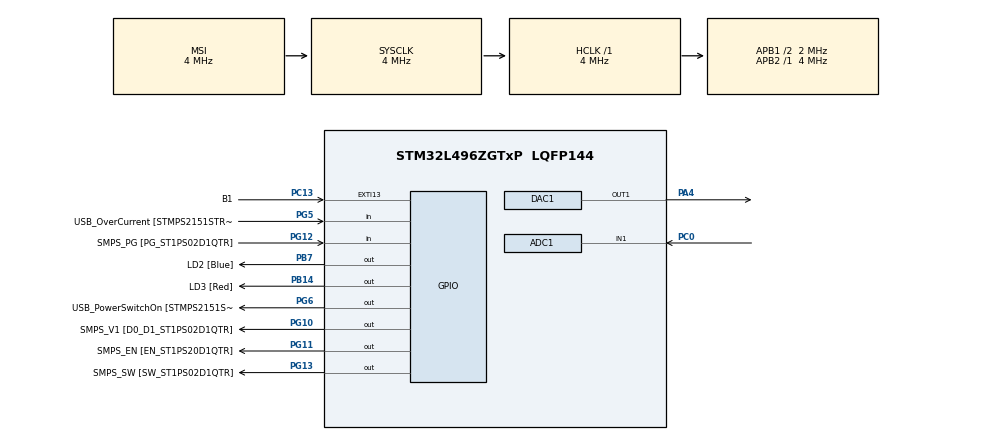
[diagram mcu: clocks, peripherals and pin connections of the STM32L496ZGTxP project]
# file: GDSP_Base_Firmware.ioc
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ADC1.Channel-0\#ChannelRegularConversion=ADC_CHANNEL_1
ADC1.ContinuousConvMode=DISABLE
ADC1.DMAContinuousRequests=ENABLE
ADC1.ExternalTrigConv=ADC_EXTERNALTRIG_T3_TRGO
ADC1.NbrOfConversionFlag=1
ADC1.OffsetNumber-0\#ChannelRegularConversion=ADC_OFFSET_NONE
ADC1.Rank-0\#ChannelRegularConversion=1
ADC1.SamplingTime-0\#ChannelRegularConversion=ADC_SAMPLETIME_2CYCLES_5
ADC1.master=1
DAC1.DAC_Trigger-DAC_OUT1=DAC_TRIGGER_T6_TRGO
Dma.ADC1.0.Direction=DMA_PERIPH_TO_MEMORY
Dma.ADC1.0.Instance=DMA1_Channel1
Dma.ADC1.0.MemDataAlignment=DMA_MDATAALIGN_HALFWORD
Dma.ADC1.0.MemInc=DMA_MINC_ENABLE
Dma.ADC1.0.Mode=DMA_NORMAL
Dma.ADC1.0.PeriphDataAlignment=DMA_PDATAALIGN_HALFWORD
Dma.ADC1.0.PeriphInc=DMA_PINC_DISABLE
Dma.ADC1.0.Priority=DMA_PRIORITY_VERY_HIGH
Dma.DAC_CH1.1.Direction=DMA_MEMORY_TO_PERIPH
Dma.DAC_CH1.1.Instance=DMA1_Channel3
Dma.DAC_CH1.1.MemDataAlignment=DMA_MDATAALIGN_HALFWORD
Dma.DAC_CH1.1.MemInc=DMA_MINC_ENABLE
Dma.DAC_CH1.1.Mode=DMA_NORMAL
Dma.DAC_CH1.1.PeriphDataAlignment=DMA_PDATAALIGN_HALFWORD
Dma.DAC_CH1.1.PeriphInc=DMA_PINC_DISABLE
Dma.DAC_CH1.1.Priority=DMA_PRIORITY_LOW
Dma.Request0=ADC1
Dma.Request1=DAC_CH1
Mcu.Family=STM32L4
Mcu.Name=STM32L496ZGTxP
Mcu.Package=LQFP144
NVIC.DMA1_Channel1_IRQn=true\:0\:0\:false\:false\:true\:false\:true\:true
NVIC.DMA1_Channel3_IRQn=true\:0\:0\:false\:false\:true\:false\:true\:true
NVIC.PriorityGroup=NVIC_PRIORITYGROUP_4
NVIC.TIM6_DAC_IRQn=true\:0\:0\:false\:false\:true\:true\:true\:true
PA10.GPIO_Label=USB_ID
PA10.Signal=USB_OTG_FS_ID
PA11.GPIO_Label=USB_DM
PA11.Signal=USB_OTG_FS_DM
PA12.GPIO_Label=USB_DP
PA12.Signal=USB_OTG_FS_DP
PA13\ (JTMS/SWDIO).GPIO_Label=TMS
PA13\ (JTMS/SWDIO).Mode=Trace_Asynchronous_SW
PA13\ (JTMS/SWDIO).Signal=SYS_JTMS-SWDIO
PA14\ (JTCK/SWCLK).GPIO_Label=TCK
PA14\ (JTCK/SWCLK).Mode=Trace_Asynchronous_SW
PA14\ (JTCK/SWCLK).Signal=SYS_JTCK-SWCLK
PA4.Signal=COMP_DAC11_group
PA8.GPIO_Label=USB_SOF [TP1]
PA8.Signal=USB_OTG_FS_SOF
PA9.GPIO_Label=USB_VBUS
PA9.Signal=USB_OTG_FS_VBUS
PB14.GPIO_Label=LD3 [Red]
PB14.Signal=GPIO_Output
PB3\ (JTDO/TRACESWO).GPIO_Label=SWO
PB3\ (JTDO/TRACESWO).Mode=Trace_Asynchronous_SW
PB3\ (JTDO/TRACESWO).Signal=SYS_JTDO-SWO
PB7.GPIO_Label=LD2 [Blue]
PB7.Signal=GPIO_Output
PC0.Signal=ADCx_IN1
PC13.GPIO_Label=B1
PC13.Signal=GPXTI13
PC14-OSC32_IN\ (PC14).Signal=RCC_OSC32_IN
PC15-OSC32_OUT\ (PC15).Signal=RCC_OSC32_OUT
PG10.GPIO_Label=SMPS_V1 [D0_D1_ST1PS02D1QTR]
PG10.Signal=GPIO_Output
PG11.GPIO_Label=SMPS_EN [EN_ST1PS20D1QTR]
PG11.Signal=GPIO_Output
PG12.GPIO_Label=SMPS_PG [PG_ST1PS02D1QTR]
PG12.Signal=GPIO_Input
PG13.GPIO_Label=SMPS_SW [SW_ST1PS02D1QTR]
PG13.Signal=GPIO_Output
PG5.GPIO_Label=USB_OverCurrent [STMPS2151STR_FAULT]
PG5.Signal=GPIO_Input
PG6.GPIO_Label=USB_PowerSwitchOn [STMPS2151STR_EN]
PG6.Signal=GPIO_Output
PG7.GPIO_Label=STLK_RX [STM32F103CBT6_PA3]
PG7.Signal=LPUART1_TX
PG8.GPIO_Label=STLK_TX [STM32F103CBT6_PA2]
PG8.Signal=LPUART1_RX
PH0-OSC_IN\ (PH0).GPIO_Label=MCO
PH0-OSC_IN\ (PH0).Signal=RCC_OSC_IN
PH1-OSC_OUT\ (PH1).Signal=RCC_OSC_OUT
ProjectManager.HeapSize=0x200
ProjectManager.StackSize=0x400
ProjectManager.TargetToolchain=STM32CubeIDE
RCC.48MHZClocksFreq_Value=24000000
RCC.ADCFreq_Value=32000000
RCC.AHBFreq_Value=4000000
RCC.APB1CLKDivider=RCC_HCLK_DIV2
RCC.APB1Freq_Value=2000000
RCC.APB1TimFreq_Value=4000000
RCC.APB2Freq_Value=4000000
RCC.APB2TimFreq_Value=4000000
RCC.CortexFreq_Value=4000000
RCC.HCLKFreq_Value=4000000
RCC.HSE_VALUE=8000000
RCC.HSI48_VALUE=48000000
RCC.HSI_VALUE=16000000
RCC.LSE_VALUE=32768
RCC.MSI_VALUE=4000000
RCC.PLLMUL=RCC_PLL_MUL9
RCC.PLLSAI1N=16
RCC.PRESCALERUSB=RCC_USBCLKSOURCE_PLL_DIV1_5
RCC.SYSCLKFreq_VALUE=4000000
RCC.SYSCLKSourceVirtual=RCC_SYSCLKSOURCE_PLLCLK
RCC.USBFreq_Value=32000000
RCC.VCOOutputFreq_Value=32000000
SH.ADCx_IN1.0=ADC1_IN1,IN1-Single-Ended
SH.COMP_DAC11_group.0=DAC1_OUT1,DAC_OUT1
TIM3.Channel-PWM\ Generation1\ No\ Output=TIM_CHANNEL_1
TIM3.Period=10-1
TIM3.Prescaler=40-1
TIM3.TIM_MasterOutputTrigger=TIM_TRGO_UPDATE
TIM6.Period=10-1
TIM6.Prescaler=40-1
TIM6.TIM_MasterOutputTrigger=TIM_TRGO_UPDATE
VP_TIM3_VS_ClockSourceINT.Mode=Internal
VP_TIM3_VS_no_output1.Mode=PWM Generation1 No Output
VP_TIM6_VS_ClockSourceINT.Mode=Enable_Timer
board=NUCLEO-L496ZG-P

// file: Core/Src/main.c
/* USER CODE BEGIN Header */
/**
  ******************************************************************************
  * @file           : main.c
  * @brief          : Main program body
  ******************************************************************************
  * @attention
  *
  * Copyright (c) 2022 STMicroelectronics.
  * All rights reserved.
  *
  * This software is licensed under terms that can be found in the LICENSE file
  * in the root directory of this software component.
  * If no LICENSE file comes with this software, it is provided AS-IS.
  *
  ******************************************************************************
  */
/* USER CODE END Header */
#include "main.h"

/* USER CODE BEGIN PD */
#define BUFFER_SIZE 100000

#define LED1_PIN                                GPIO_PIN_7
#define LED1_GPIO_PORT                          GPIOC
#define LED1_GPIO_CLK_ENABLE()                  __HAL_RCC_GPIOC_CLK_ENABLE()
#define LED1_GPIO_CLK_DISABLE()                 __HAL_RCC_GPIOC_CLK_DISABLE()

#define LED2_PIN                                GPIO_PIN_7
#define LED2_GPIO_PORT                          GPIOB
#define LED2_GPIO_CLK_ENABLE()                  __HAL_RCC_GPIOB_CLK_ENABLE()
#define LED2_GPIO_CLK_DISABLE()                 __HAL_RCC_GPIOB_CLK_DISABLE()

#define LED3_PIN                                GPIO_PIN_14
#define LED3_GPIO_PORT                          GPIOB
#define LED3_GPIO_CLK_ENABLE()                  __HAL_RCC_GPIOB_CLK_ENABLE()
#define LED3_GPIO_CLK_DISABLE()                 __HAL_RCC_GPIOB_CLK_DISABLE()
/* USER CODE END PD */

 ADC_HandleTypeDef hadc1;
DMA_HandleTypeDef hdma_adc1;

DAC_HandleTypeDef hdac1;
DMA_HandleTypeDef hdma_dac_ch1;

TIM_HandleTypeDef htim3;
TIM_HandleTypeDef htim6;

/* USER CODE BEGIN PV */
int16_t adc_data[BUFFER_SIZE];

static volatile int16_t *in_buf_ptr = &adc_data[0];
static volatile int16_t *out_buf_ptr = &adc_data[0];

uint8_t data_ready_flag;

/* USER CODE END PV */

void SystemClock_Config(void);
static void MX_GPIO_Init(void);
static void MX_DMA_Init(void);
static void MX_ADC1_Init(void);
static void MX_DAC1_Init(void);
static void MX_TIM3_Init(void);
static void MX_TIM6_Init(void);

/* USER CODE BEGIN 0 */
void HAL_ADC_ConvCpltCallback(ADC_HandleTypeDef *hadc) {
	if (hadc->Instance == ADC1) {

		//update_pots(&adc_buffer[BUFFER_SIZE]);

	}
}

void HAL_ADC_ConvHalfCpltCallback(ADC_HandleTypeDef *hadc) {
	if (hadc->Instance == ADC1) {

		//update_pots(&adc_buffer[0]);

	}
}

// Contrary to the name this callback actually handles both channels
void HAL_DAC_ConvCpltCallbackCh1(DAC_HandleTypeDef *hdac) {

	//out_buf_ptr = &adc_data[];
	//dac2_buffer_ptr = &dac2_buffer[BUFFER_SIZE];

	//update_osc_buffers();

}
/* USER CODE END 0 */

int main(void)
{

  /* MCU Configuration--------------------------------------------------------*/

  /* Reset of all peripherals, Initializes the Flash interface and the Systick. */
  HAL_Init();

  /* Configure the system clock */
  SystemClock_Config();

  /* Initialize all configured peripherals */
  MX_GPIO_Init();
  MX_DMA_Init();
  MX_ADC1_Init();
  MX_DAC1_Init();
  MX_TIM3_Init();
  MX_TIM6_Init();
  /* USER CODE BEGIN 2 */
  //HAL_ADC_Start_DMA(&hadc1, adc_data, 1);
  //HAL_DAC_Start_DMA(&hdac1, DAC_CHANNEL_1, adc_data, 1,
  //		DAC_ALIGN_12B_R);

  HAL_TIM_Base_Start(&htim3);
  HAL_TIM_Base_Start(&htim6);
  /* USER CODE END 2 */

  /* Infinite loop */
  /* USER CODE BEGIN WHILE */
  uint32_t then = 0;
  while (1)
  {
		uint32_t now = HAL_GetTick();
		if ((now-then) > 5000) {

			// Let's toggle the built in led just to show we're alive and well
			//HAL_GPIO_TogglePin(LED1_GPIO_PORT, LED1_PIN);
			HAL_GPIO_TogglePin(LED2_GPIO_PORT, LED2_PIN);

			HAL_ADC_Start_DMA(&hadc1, (uint32_t *)adc_data, BUFFER_SIZE);
			HAL_DAC_Start_DMA(&hdac1, DAC_CHANNEL_1, (uint32_t *)adc_data, BUFFER_SIZE,
					DAC_ALIGN_12B_R);

			then = now;
		}
    /* USER CODE END WHILE */

  }
}

void SystemClock_Config(void)
{
  RCC_OscInitTypeDef RCC_OscInitStruct = {0};
  RCC_ClkInitTypeDef RCC_ClkInitStruct = {0};

  /** Configure the main internal regulator output voltage
  */
  if (HAL_PWREx_ControlVoltageScaling(PWR_REGULATOR_VOLTAGE_SCALE1) != HAL_OK)
  {
    Error_Handler();
  }

  /** Initializes the RCC Oscillators according to the specified parameters
  * in the RCC_OscInitTypeDef structure.
  */
  RCC_OscInitStruct.OscillatorType = RCC_OSCILLATORTYPE_MSI;
  RCC_OscInitStruct.MSIState = RCC_MSI_ON;
  RCC_OscInitStruct.MSICalibrationValue = 0;
  RCC_OscInitStruct.MSIClockRange = RCC_MSIRANGE_6;
  RCC_OscInitStruct.PLL.PLLState = RCC_PLL_NONE;
  if (HAL_RCC_OscConfig(&RCC_OscInitStruct) != HAL_OK)
  {
    Error_Handler();
  }

  /** Initializes the CPU, AHB and APB buses clocks
  */
  RCC_ClkInitStruct.ClockType = RCC_CLOCKTYPE_HCLK|RCC_CLOCKTYPE_SYSCLK
                              |RCC_CLOCKTYPE_PCLK1|RCC_CLOCKTYPE_PCLK2;
  RCC_ClkInitStruct.SYSCLKSource = RCC_SYSCLKSOURCE_MSI;
  RCC_ClkInitStruct.AHBCLKDivider = RCC_SYSCLK_DIV1;
  RCC_ClkInitStruct.APB1CLKDivider = RCC_HCLK_DIV2;
  RCC_ClkInitStruct.APB2CLKDivider = RCC_HCLK_DIV1;

  if (HAL_RCC_ClockConfig(&RCC_ClkInitStruct, FLASH_LATENCY_0) != HAL_OK)
  {
    Error_Handler();
  }
}

static void MX_ADC1_Init(void)
{

  ADC_MultiModeTypeDef multimode = {0};
  ADC_ChannelConfTypeDef sConfig = {0};

  /** Common config
  */
  hadc1.Instance = ADC1;
  hadc1.Init.ClockPrescaler = ADC_CLOCK_ASYNC_DIV1;
  hadc1.Init.Resolution = ADC_RESOLUTION_12B;
  hadc1.Init.DataAlign = ADC_DATAALIGN_RIGHT;
  hadc1.Init.ScanConvMode = ADC_SCAN_DISABLE;
  hadc1.Init.EOCSelection = ADC_EOC_SINGLE_CONV;
  hadc1.Init.LowPowerAutoWait = DISABLE;
  hadc1.Init.ContinuousConvMode = DISABLE;
  hadc1.Init.NbrOfConversion = 1;
  hadc1.Init.DiscontinuousConvMode = DISABLE;
  hadc1.Init.ExternalTrigConv = ADC_EXTERNALTRIG_T3_TRGO;
  hadc1.Init.ExternalTrigConvEdge = ADC_EXTERNALTRIGCONVEDGE_RISING;
  hadc1.Init.DMAContinuousRequests = ENABLE;
  hadc1.Init.Overrun = ADC_OVR_DATA_PRESERVED;
  hadc1.Init.OversamplingMode = DISABLE;
  if (HAL_ADC_Init(&hadc1) != HAL_OK)
  {
    Error_Handler();
  }

  /** Configure the ADC multi-mode
  */
  multimode.Mode = ADC_MODE_INDEPENDENT;
  if (HAL_ADCEx_MultiModeConfigChannel(&hadc1, &multimode) != HAL_OK)
  {
    Error_Handler();
  }

  /** Configure Regular Channel
  */
  sConfig.Channel = ADC_CHANNEL_1;
  sConfig.Rank = ADC_REGULAR_RANK_1;
  sConfig.SamplingTime = ADC_SAMPLETIME_2CYCLES_5;
  sConfig.SingleDiff = ADC_SINGLE_ENDED;
  sConfig.OffsetNumber = ADC_OFFSET_NONE;
  sConfig.Offset = 0;
  if (HAL_ADC_ConfigChannel(&hadc1, &sConfig) != HAL_OK)
  {
    Error_Handler();
  }

}

static void MX_DAC1_Init(void)
{

  DAC_ChannelConfTypeDef sConfig = {0};

  /** DAC Initialization
  */
  hdac1.Instance = DAC1;
  if (HAL_DAC_Init(&hdac1) != HAL_OK)
  {
    Error_Handler();
  }

  /** DAC channel OUT1 config
  */
  sConfig.DAC_SampleAndHold = DAC_SAMPLEANDHOLD_DISABLE;
  sConfig.DAC_Trigger = DAC_TRIGGER_T6_TRGO;
  sConfig.DAC_OutputBuffer = DAC_OUTPUTBUFFER_ENABLE;
  sConfig.DAC_ConnectOnChipPeripheral = DAC_CHIPCONNECT_DISABLE;
  sConfig.DAC_UserTrimming = DAC_TRIMMING_FACTORY;
  if (HAL_DAC_ConfigChannel(&hdac1, &sConfig, DAC_CHANNEL_1) != HAL_OK)
  {
    Error_Handler();
  }

}

static void MX_TIM3_Init(void)
{

  TIM_ClockConfigTypeDef sClockSourceConfig = {0};
  TIM_MasterConfigTypeDef sMasterConfig = {0};
  TIM_OC_InitTypeDef sConfigOC = {0};

  htim3.Instance = TIM3;
  htim3.Init.Prescaler = 4-1;
  htim3.Init.CounterMode = TIM_COUNTERMODE_UP;
  htim3.Init.Period = 10-1;
  htim3.Init.ClockDivision = TIM_CLOCKDIVISION_DIV1;
  htim3.Init.AutoReloadPreload = TIM_AUTORELOAD_PRELOAD_DISABLE;
  if (HAL_TIM_Base_Init(&htim3) != HAL_OK)
  {
    Error_Handler();
  }
  sClockSourceConfig.ClockSource = TIM_CLOCKSOURCE_INTERNAL;
  if (HAL_TIM_ConfigClockSource(&htim3, &sClockSourceConfig) != HAL_OK)
  {
    Error_Handler();
  }
  if (HAL_TIM_PWM_Init(&htim3) != HAL_OK)
  {
    Error_Handler();
  }
  sMasterConfig.MasterOutputTrigger = TIM_TRGO_UPDATE;
  sMasterConfig.MasterSlaveMode = TIM_MASTERSLAVEMODE_DISABLE;
  if (HAL_TIMEx_MasterConfigSynchronization(&htim3, &sMasterConfig) != HAL_OK)
  {
    Error_Handler();
  }
  sConfigOC.OCMode = TIM_OCMODE_PWM1;
  sConfigOC.Pulse = 0;
  sConfigOC.OCPolarity = TIM_OCPOLARITY_HIGH;
  sConfigOC.OCFastMode = TIM_OCFAST_DISABLE;
  if (HAL_TIM_PWM_ConfigChannel(&htim3, &sConfigOC, TIM_CHANNEL_1) != HAL_OK)
  {
    Error_Handler();
  }

}

static void MX_TIM6_Init(void)
{

  TIM_MasterConfigTypeDef sMasterConfig = {0};

  htim6.Instance = TIM6;
  htim6.Init.Prescaler = 4-1;
  htim6.Init.CounterMode = TIM_COUNTERMODE_UP;
  htim6.Init.Period = 50-1;
  htim6.Init.AutoReloadPreload = TIM_AUTORELOAD_PRELOAD_DISABLE;
  if (HAL_TIM_Base_Init(&htim6) != HAL_OK)
  {
    Error_Handler();
  }
  sMasterConfig.MasterOutputTrigger = TIM_TRGO_UPDATE;
  sMasterConfig.MasterSlaveMode = TIM_MASTERSLAVEMODE_DISABLE;
  if (HAL_TIMEx_MasterConfigSynchronization(&htim6, &sMasterConfig) != HAL_OK)
  {
    Error_Handler();
  }

}

static void MX_DMA_Init(void)
{

  /* DMA controller clock enable */
  __HAL_RCC_DMA1_CLK_ENABLE();

  /* DMA interrupt init */
  /* DMA1_Channel1_IRQn interrupt configuration */
  HAL_NVIC_SetPriority(DMA1_Channel1_IRQn, 0, 0);
  HAL_NVIC_EnableIRQ(DMA1_Channel1_IRQn);
  /* DMA1_Channel3_IRQn interrupt configuration */
  HAL_NVIC_SetPriority(DMA1_Channel3_IRQn, 0, 0);
  HAL_NVIC_EnableIRQ(DMA1_Channel3_IRQn);

}

static void MX_GPIO_Init(void)
{
  GPIO_InitTypeDef GPIO_InitStruct = {0};

  /* GPIO Ports Clock Enable */
  __HAL_RCC_GPIOC_CLK_ENABLE();
  __HAL_RCC_GPIOH_CLK_ENABLE();
  __HAL_RCC_GPIOA_CLK_ENABLE();
  __HAL_RCC_GPIOB_CLK_ENABLE();
  __HAL_RCC_GPIOG_CLK_ENABLE();
  HAL_PWREx_EnableVddIO2();

  /*Configure GPIO pin Output Level */
  HAL_GPIO_WritePin(GPIOB, LD3_Pin|LD2_Pin, GPIO_PIN_RESET);

  /*Configure GPIO pin Output Level */
  HAL_GPIO_WritePin(GPIOG, USB_PowerSwitchOn_Pin|SMPS_V1_Pin|SMPS_EN_Pin|SMPS_SW_Pin, GPIO_PIN_RESET);

  /*Configure GPIO pin : B1_Pin */
  GPIO_InitStruct.Pin = B1_Pin;
  GPIO_InitStruct.Mode = GPIO_MODE_IT_RISING;
  GPIO_InitStruct.Pull = GPIO_NOPULL;
  HAL_GPIO_Init(B1_GPIO_Port, &GPIO_InitStruct);

  /*Configure GPIO pins : LD3_Pin LD2_Pin */
  GPIO_InitStruct.Pin = LD3_Pin|LD2_Pin;
  GPIO_InitStruct.Mode = GPIO_MODE_OUTPUT_PP;
  GPIO_InitStruct.Pull = GPIO_NOPULL;
  GPIO_InitStruct.Speed = GPIO_SPEED_FREQ_LOW;
  HAL_GPIO_Init(GPIOB, &GPIO_InitStruct);

  /*Configure GPIO pins : USB_OverCurrent_Pin SMPS_PG_Pin */
  GPIO_InitStruct.Pin = USB_OverCurrent_Pin|SMPS_PG_Pin;
  GPIO_InitStruct.Mode = GPIO_MODE_INPUT;
  GPIO_InitStruct.Pull = GPIO_NOPULL;
  HAL_GPIO_Init(GPIOG, &GPIO_InitStruct);

  /*Configure GPIO pins : USB_PowerSwitchOn_Pin SMPS_V1_Pin SMPS_EN_Pin SMPS_SW_Pin */
  GPIO_InitStruct.Pin = USB_PowerSwitchOn_Pin|SMPS_V1_Pin|SMPS_EN_Pin|SMPS_SW_Pin;
  GPIO_InitStruct.Mode = GPIO_MODE_OUTPUT_PP;
  GPIO_InitStruct.Pull = GPIO_NOPULL;
  GPIO_InitStruct.Speed = GPIO_SPEED_FREQ_LOW;
  HAL_GPIO_Init(GPIOG, &GPIO_InitStruct);

  /*Configure GPIO pins : STLK_RX_Pin STLK_TX_Pin */
  GPIO_InitStruct.Pin = STLK_RX_Pin|STLK_TX_Pin;
  GPIO_InitStruct.Mode = GPIO_MODE_AF_PP;
  GPIO_InitStruct.Pull = GPIO_NOPULL;
  GPIO_InitStruct.Speed = GPIO_SPEED_FREQ_VERY_HIGH;
  GPIO_InitStruct.Alternate = GPIO_AF8_LPUART1;
  HAL_GPIO_Init(GPIOG, &GPIO_InitStruct);

  /*Configure GPIO pins : USB_SOF_Pin USB_ID_Pin USB_DM_Pin USB_DP_Pin */
  GPIO_InitStruct.Pin = USB_SOF_Pin|USB_ID_Pin|USB_DM_Pin|USB_DP_Pin;
  GPIO_InitStruct.Mode = GPIO_MODE_AF_PP;
  GPIO_InitStruct.Pull = GPIO_NOPULL;
  GPIO_InitStruct.Speed = GPIO_SPEED_FREQ_VERY_HIGH;
  GPIO_InitStruct.Alternate = GPIO_AF10_OTG_FS;
  HAL_GPIO_Init(GPIOA, &GPIO_InitStruct);

}

void Error_Handler(void)
{
  __disable_irq();
  while (1)
  {
  }
}
